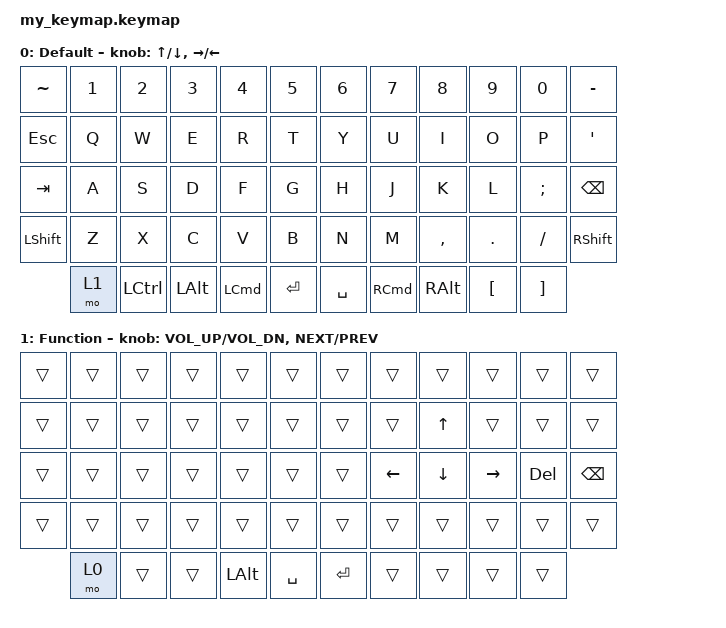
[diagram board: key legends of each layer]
/* My Sofle Choc v2 Keymap */

#include <dt-bindings/zmk/keys.h>
#include <dt-bindings/zmk/mouse.h>
#include <dt-bindings/zmk/hid_usage.h>

/ {
    keymap {
        compatible = "zmk,keymap";
        
        default_layer {
            label = "Default";
            bindings = <
&kp TILDE   &kp N1      &kp N2      &kp N3      &kp N4      &kp N5      &kp N6      &kp N7      &kp N8      &kp N9      &kp N0      &kp MINUS
&kp ESC     &kp Q       &kp W       &kp E       &kp R       &kp T       &kp Y       &kp U       &kp I       &kp O       &kp P       &kp SQT
&kp TAB     &kp A       &kp S       &kp D       &kp F       &kp G       &kp H       &kp J       &kp K       &kp L       &kp SEMI    &kp BSPC
&kp LSHFT   &kp Z       &kp X       &kp C       &kp V       &kp B       &kp N       &kp M       &kp COMMA   &kp DOT     &kp SLASH   &kp RSHFT
                &mo 1      &kp LCTRL  &kp LALT   &kp LCMD   &kp RET    &kp SPACE  &kp RCMD   &kp RALT   &kp LBKT   &kp RBKT
            >;
            
            sensor-bindings = <
                &inc_dec_kp UP DOWN     // Left encoder: Up/Down arrows
                &inc_dec_kp RIGHT LEFT  // Right encoder: Right/Left arrows  
            >;
        };

        function_layer {
            label = "Function";
            bindings = <
&trans      &trans      &trans      &trans      &trans      &trans      &trans      &trans      &trans      &trans      &trans      &trans
&trans      &trans      &trans      &trans      &trans      &trans      &trans      &trans      &kp UP      &trans      &trans      &trans
&trans      &trans      &trans      &trans      &trans      &trans      &trans      &kp LEFT    &kp DOWN    &kp RIGHT   &kp DEL      &kp BSPC
&trans      &trans      &trans      &trans      &trans      &trans      &trans      &trans      &trans      &trans      &trans      &trans
                &mo 0       &trans      &trans      &kp LALT    &kp SPACE   &kp RET     &trans      &trans      &trans      &trans
            >;
            
            sensor-bindings = <
                &inc_dec_kp C_VOL_UP C_VOL_DN    // Left encoder: Volume up/down
                &inc_dec_kp C_NEXT C_PREV        // Right encoder: Next/Previous track
            >;
        };
    };
};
